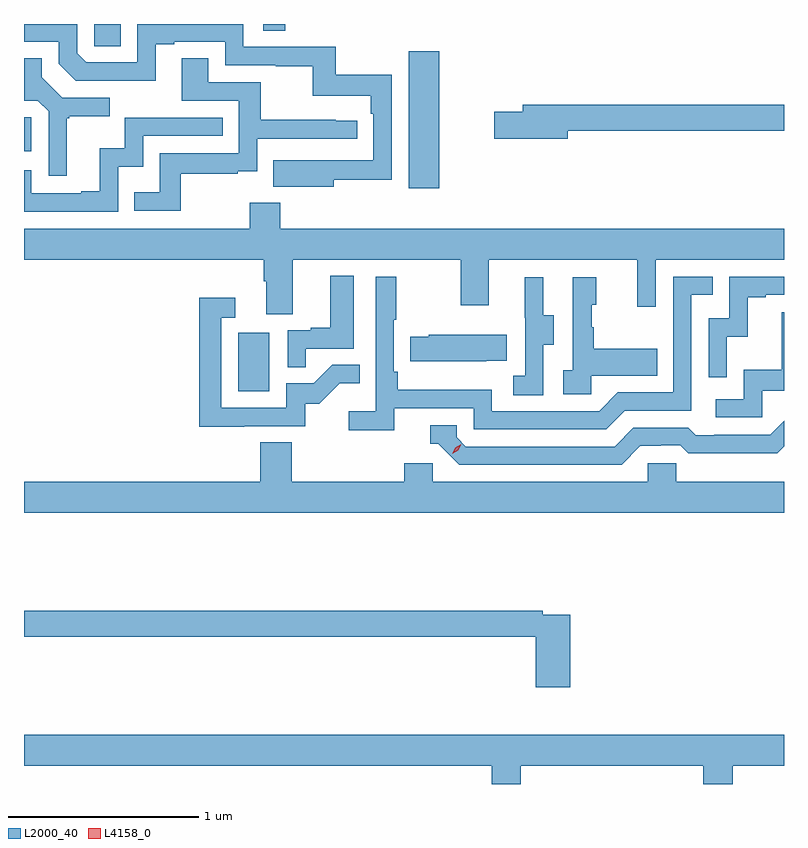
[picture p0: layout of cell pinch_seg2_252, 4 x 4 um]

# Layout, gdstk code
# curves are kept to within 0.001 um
import gdstk
lib = gdstk.Library(unit=1e-6, precision=1e-09)
def R(c, l, rs):  # rectangles x0, y0, x1, y1
    for r in rs: c.add(gdstk.rectangle(r[:2], r[2:], *l))
def P(c, l, *ps):  # polygons
    for p in ps: c.add(gdstk.Polygon(p, *l))
L2000_40 = (2000, 40)
L4158_0 = (4158, 0)

pinch_seg2_252 = lib.new_cell('pinch_seg2_252')
R(pinch_seg2_252, L2000_40, [(940.1,661.596,940.264,661.903), (940.997,662.664,941.158,663.385), (938.973,662.859,939.012,663.039), (939.342,663.412,939.481,663.529), (940.233,663.493,940.349,663.529)])
P(pinch_seg2_252, L2000_40, [(940.603,662.71),(940.908,662.71),(940.908,663.262),(940.615,663.262),(940.615,663.408),(940.128,663.408),(940.128,663.529),(939.57,663.529),(939.57,663.327),(939.3,663.327),(939.252,663.375),(939.252,663.529),(938.973,663.529),(938.973,663.435),(939.156,663.435),(939.156,663.321),(939.246,663.231),(939.667,663.23),(939.667,663.423),(939.763,663.423),(939.763,663.435),(940.032,663.435),(940.032,663.312),(940.297,663.312),(940.297,663.307),(940.494,663.307),(940.494,663.152),(940.799,663.152),(940.799,663.056),(940.812,663.056),(940.812,662.811),(940.285,662.812),(940.285,662.672),(940.603,662.672)],
  [(939.799,662.742),(940.097,662.742),(940.097,662.753),(940.2,662.753),(940.2,662.925),(940.726,662.925),(940.726,663.021),(940.613,663.021),(940.613,663.026),(940.22,663.026),(940.22,663.222),(939.943,663.222),(939.943,663.35),(939.803,663.35),(939.803,663.126),(940.104,663.126),(940.104,662.85),(939.688,662.85),(939.688,662.644),(939.553,662.644),(939.553,662.547),(939.799,662.547)],
  [(939.199,663.033),(939.211,663.033),(939.211,663.044),(939.424,663.044),(939.424,663.141),(939.174,663.141),(939.067,663.248),(939.067,663.35),(938.973,663.35),(938.973,663.126),(939.045,663.126),(939.102,663.069),(939.102,662.73),(939.199,662.73)],
  [(941.836,662.968),(942.973,662.968),(942.973,663.104),(941.597,663.104),(941.597,663.068),(941.448,663.068),(941.448,662.926),(941.836,662.926)],
  [(939.468,662.777),(939.6,662.777),(939.6,662.94),(940.019,662.94),(940.019,663.036),(939.504,663.036),(939.504,662.875),(939.371,662.875),(939.371,662.65),(939.275,662.65),(939.275,662.637),(939.012,662.637),(939.012,662.76),(938.973,662.76),(938.973,662.541),(939.468,662.541)],
  [(940.387,662.288),(941.272,662.288),(941.272,662.049),(941.419,662.049),(941.419,662.288),(942.2,662.288),(942.2,662.04),(942.297,662.04),(942.297,662.288),(942.973,662.288),(942.973,662.452),(940.322,662.452),(940.322,662.587),(940.162,662.587),(940.162,662.452),(938.973,662.452),(938.973,662.288),(940.235,662.288),(940.235,662.176),(940.247,662.176),(940.247,662.002),(940.387,662.002)],
  [(940.457,661.821),(940.708,661.821),(940.708,662.203),(940.586,662.203),(940.586,661.93),(940.483,661.93),(940.483,661.917),(940.362,661.917),(940.362,661.723),(940.457,661.723)],
  [(940.922,661.506),(941.34,661.506),(941.34,661.395),(942.037,661.395),(942.136,661.494),(942.486,661.494),(942.486,662.103),(942.599,662.103),(942.599,662.199),(942.39,662.199),(942.39,661.59),(942.099,661.59),(942,661.491),(941.436,661.491),(941.436,661.603),(940.94,661.603),(940.94,661.699),(940.92,661.699),(940.92,661.972),(940.933,661.972),(940.933,662.2),(940.824,662.2),(940.824,661.492),(940.683,661.492),(940.683,661.39),(940.922,661.39)],
  [(942.672,661.883),(942.782,661.883),(942.782,662.091),(942.877,662.091),(942.877,662.103),(942.973,662.103),(942.973,662.199),(942.684,662.199),(942.684,661.98),(942.576,661.98),(942.576,661.671),(942.672,661.671)],
  [(941.958,661.679),(942.305,661.679),(942.305,661.819),(941.971,661.819),(941.971,661.934),(941.961,661.934),(941.961,662.052),(941.986,662.052),(941.986,662.197),(941.862,662.197),(941.862,661.706),(941.811,661.706),(941.811,661.581),(941.958,661.581)],
  [(941.706,661.84),(941.761,661.84),(941.761,661.995),(941.707,661.995),(941.707,662.197),(941.609,662.197),(941.609,661.983),(941.61,661.983),(941.61,661.679),(941.547,661.679),(941.547,661.576),(941.706,661.576)],
  [(940.133,661.413),(940.452,661.413),(940.452,661.53),(940.528,661.53),(940.635,661.637),(940.739,661.637),(940.739,661.736),(940.596,661.736),(940.498,661.638),(940.353,661.638),(940.353,661.509),(940.011,661.509),(940.011,661.983),(940.084,661.983),(940.084,662.089),(939.895,662.089),(939.895,661.408),(940.133,661.408)],
  [(942.858,661.599),(942.973,661.599),(942.973,662.011),(942.961,662.011),(942.961,661.708),(942.762,661.708),(942.762,661.554),(942.615,661.554),(942.615,661.458),(942.858,661.458)],
  [(941.405,661.757),(941.513,661.757),(941.513,661.894),(941.103,661.894),(941.103,661.884),(941.005,661.884),(941.005,661.754),(941.405,661.754)],
  [(942.217,661.308),(942.324,661.308),(942.324,661.311),(942.427,661.311),(942.469,661.269),(942.702,661.269),(942.702,661.271),(942.938,661.271),(942.973,661.306),(942.973,661.441),(942.9,661.368),(942.607,661.368),(942.607,661.365),(942.508,661.365),(942.469,661.404),(942.18,661.404),(942.081,661.305),(941.298,661.305),(941.25,661.353),(941.25,661.416),(941.111,661.416),(941.111,661.32),(941.154,661.32),(941.265,661.209),(942.118,661.209)],
  [(942.973,661.12),(942.405,661.12),(942.405,661.218),(942.255,661.218),(942.255,661.12),(941.124,661.12),(941.124,661.218),(940.973,661.218),(940.973,661.12),(940.382,661.12),(940.382,661.328),(940.217,661.328),(940.217,661.12),(938.973,661.12),(938.973,660.956),(942.973,660.956)],
  [(941.849,660.42),(941.702,660.42),(941.702,660.44),(938.973,660.44),(938.973,660.304),(941.666,660.304),(941.666,660.039),(941.849,660.039)],
  [(941.587,659.624),(942.547,659.624),(942.547,659.529),(942.704,659.529),(942.704,659.624),(942.973,659.624),(942.973,659.788),(938.973,659.788),(938.973,659.624),(941.435,659.624),(941.435,659.529),(941.587,659.529)])
P(pinch_seg2_252, L4158_0, [(941.228,661.266),(941.228,661.266),(941.244,661.299),(941.275,661.318),(941.275,661.318),(941.275,661.318),(941.259,661.285),(941.228,661.266)])

lib.write_gds('pinch_seg2_252.gds')
